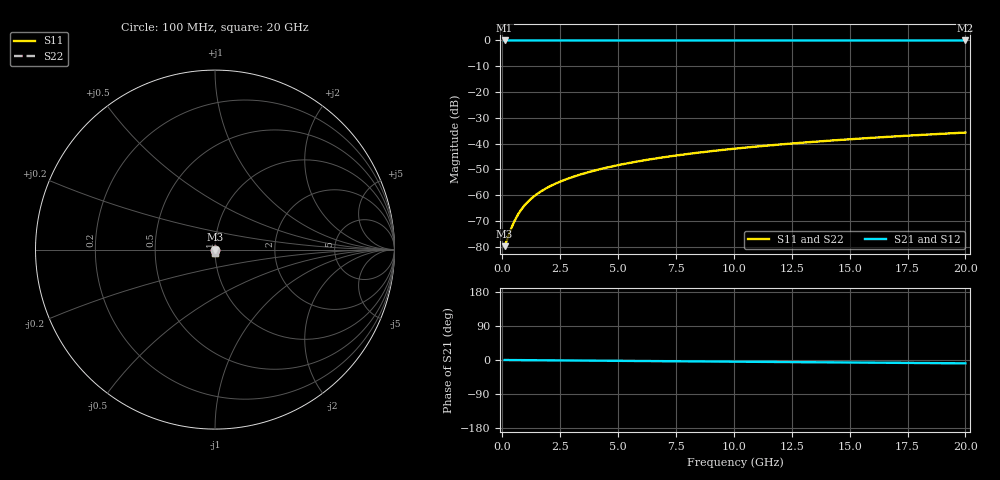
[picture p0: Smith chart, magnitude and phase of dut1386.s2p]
! Touchstone file exported from HFSS 2026.1.0
!  File:  C:/ffzhzh/LocalFiles/Ansys_Project_Files/temp_train_TSV_1386_1783196546_51560.aedt
!  Generated:  04:23:40 AM Jul  5, 2026
!  Design:  TSV
!  Project:  temp_train_TSV_1386_1783196546_51560
! Variables:
!  h_bsmrdl = 2um
!  h_ox = 20um
!  h_rdl = 5um
!  h_sub = 88.75um
!  h_tmrdl = 5um
!  h_tsv = 88.75um
!  h_via = 3um
!  l_bsmrdl = 300um
!  l_sub = 425.8um
!  l_tmrdl = 200um
!  m_sub = 200um
!  pitch = 46.62um
!  r_tsv = 12.9um
!  s_tmrdl = 10um
!  w_bsmrdl = 18um
!  w_sub = 500um
!  w_tmrdl = 12um
!  x_tsv_center1 = 206um
!  x_tsv_center2 = 524um
!  x_tsv_center3 = 736um
!  x_tsv_center4 = 1054um
!  x_tsv_center5 = 1266um
!  x_tsv_center6 = 1584um
# GHz S MA R 50.000000
! Terminal data exported
! Port[1] = TSV1_1_T1
! Port[2] = TSV1_1_T2
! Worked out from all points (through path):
!   200 points, 100 MHz to 20 GHz, reference 50 ohm
!   highest |S21| = 0.00 dB at 100 MHz (marker M1); lowest = 0.0 dB at 20 GHz (marker M2)
!   group delay of S21, straight-line fit = 1.22 ps
!   lowest |S11| = -79.8 dB at 100 MHz (marker M3), VSWR 1.00, Z = 50 - j0.00352 ohm
!   |S11| at or under -10 dB: start of sweep to end of sweep
!   |S22| runs from -79.8 to -35.7 dB; largest |S21 - S12| = 5.1e-15
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0.1  0.0001019 -20.2  0.9999 -0.0  0.9999 -0.0  0.0001019 -20.2
! Gamma 0 0 0 0
! Port Impedance 50 0 50 0
0.4  0.000233 -47.9  0.9998 -0.2  0.9998 -0.2  0.000233 -47.9
0.5  0.0002956 -52.0  0.9998 -0.2  0.9998 -0.2  0.0002956 -52.0
0.6  0.0003634 -55.3  0.9998 -0.3  0.9998 -0.3  0.0003634 -55.3
0.7  0.0004348 -58.1  0.9998 -0.3  0.9998 -0.3  0.0004348 -58.1
0.9  0.0005838 -62.7  0.9997 -0.4  0.9997 -0.4  0.0005838 -62.7
1  0.0006601 -64.5  0.9997 -0.5  0.9997 -0.5  0.0006601 -64.5
1.2  0.000814 -67.6  0.9997 -0.5  0.9997 -0.5  0.000814 -67.6
1.4  0.0009687 -70.1  0.9997 -0.6  0.9997 -0.6  0.0009687 -70.1
1.6  0.001124 -72.1  0.9996 -0.7  0.9996 -0.7  0.001124 -72.1
2.1  0.001512 -75.6  0.9996 -0.9  0.9996 -0.9  0.001512 -75.6
2.7  0.001979 -78.3  0.9996 -1.2  0.9996 -1.2  0.001979 -78.3
3.5  0.002608 -80.5  0.9995 -1.6  0.9995 -1.6  0.002608 -80.5
4.2  0.003164 -82.0  0.9995 -1.9  0.9995 -1.9  0.003164 -82.0
5  0.003807 -83.2  0.9994 -2.2  0.9994 -2.2  0.003807 -83.2
5.9  0.004538 -84.4  0.9993 -2.6  0.9993 -2.6  0.004538 -84.4
6.8  0.005275 -85.4  0.9993 -3.0  0.9993 -3.0  0.005275 -85.4
8.3  0.006513 -86.8  0.9992 -3.7  0.9992 -3.7  0.006513 -86.8
10.1  0.008007 -88.3  0.9991 -4.4  0.9991 -4.4  0.008007 -88.3
13.4  0.01076 -90.7  0.999 -5.9  0.999 -5.9  0.01076 -90.7
16.7  0.01353 -92.7  0.9988 -7.3  0.9988 -7.3  0.01353 -92.7
20  0.01632 -94.5  0.9987 -8.8  0.9987 -8.8  0.01632 -94.5
